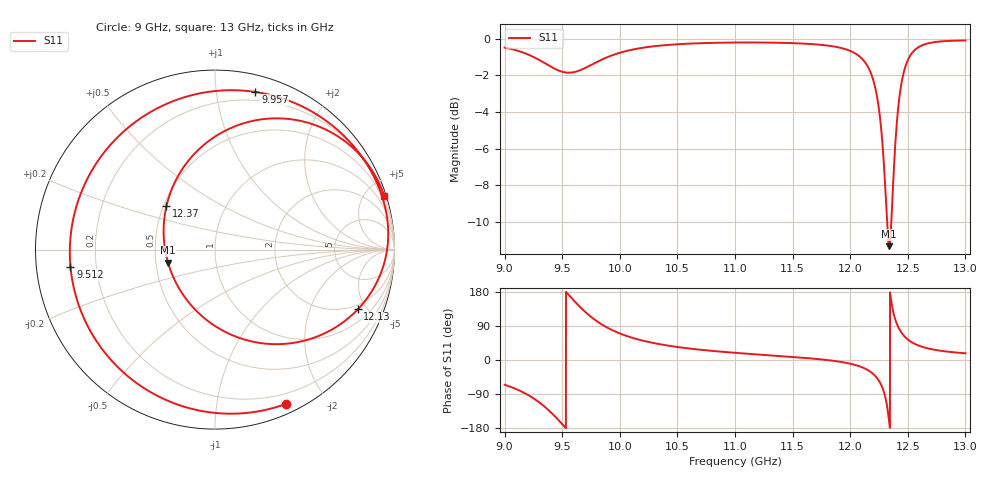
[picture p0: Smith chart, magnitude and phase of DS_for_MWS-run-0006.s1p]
! TOUCHSTONE file generated by CST DESIGN STUDIO
! Date and time: Tue Feb  4 16:13:17 2025
! Project name: C:\Work\MatlabApps\UnitCellOptimizationMatlab\CST\unitcell.cst
! Tree item: Tasks\Sweep1\SPara1\S-Parameters
! Header version: 2024
! Port assignment regex: !\s*Touchstone port\s*([0-9]+)\s*=\s*(CST MWS port|CST DES external port|CST DES block port)\s*(.+)\s* \(\"(.*)\"\)(\s*mode\s*([0-9]+))?.*
! Touchstone port assignment:
! Touchstone port 1 = CST DES external port 1 ("")
# GHz S MA R 50
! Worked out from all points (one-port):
!   4001 points, 9 GHz to 13 GHz, reference 50 ohm
!   lowest |S11| = -11.3 dB at 12.34 GHz (marker M1), VSWR 1.75, Z = 29 - j4.6 ohm
!   |S11| at or under -10 dB: 12.31986 GHz to 12.35686 GHz (37 MHz wide, 0.3 % of centre)
!   S11 on the Smith chart (normalised r, x): 9 GHz: 0.09, -1.55; 9.512 GHz: 0.10, -0.06; 9.957 GHz: 0.13, +1.28; 12.13 GHz: 1.68, -4.37; 12.37 GHz: 0.52, +0.29; 13 GHz: 0.22, +6.41
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9  0.9461 -65.4
9.169  0.9152 -86.6
9.287  0.8801 -108.7
9.39  0.8431 -134.7
9.5  0.8127 -169.1
9.512  0.8109 -173.1
9.606  0.8112 155.4
9.725  0.8402 120.3
9.828  0.8726 96.8
9.957  0.9068 75.6
10  0.9158 70.1
10.216  0.9469 49.9
10.5  0.9661 34.4
11  0.9767 19.0
11.5  0.973 8.0
12  0.9268 -9.7
12.129  0.8626 -22.7
12.205  0.7621 -38.3
12.267  0.5762 -64.4
12.303  0.3993 -95.7
12.339  0.2715 -164.3
12.366  0.3631 138.1
12.395  0.5357 103.7
12.423  0.6755 83.6
12.5  0.874 54.2
12.569  0.9369 41.3
12.662  0.9691 31.6
13  0.9895 17.7
